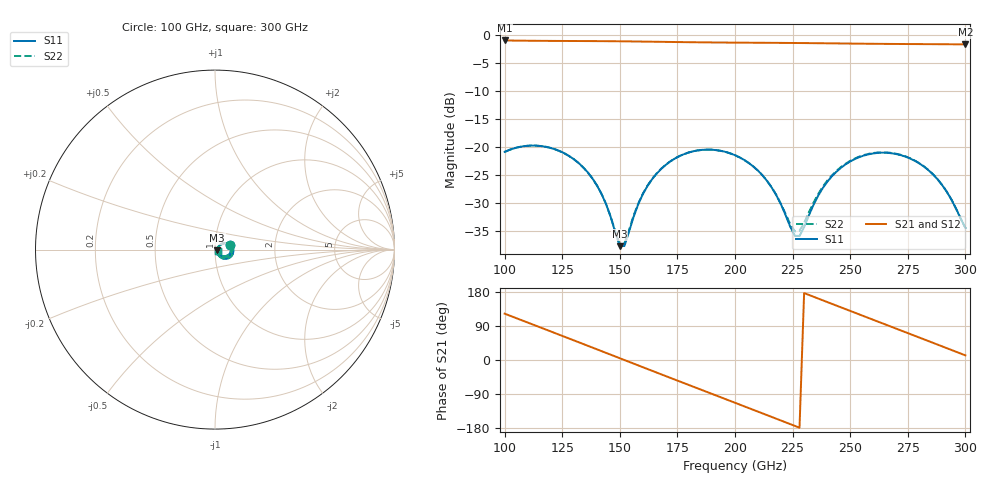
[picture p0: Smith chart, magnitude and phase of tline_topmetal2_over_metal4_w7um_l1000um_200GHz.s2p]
#  GHZ S DB R 50
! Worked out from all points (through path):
!   101 points, 100 GHz to 300 GHz, reference 50 ohm
!   highest |S21| = -0.91 dB at 100 GHz (marker M1); lowest = -1.6 dB at 300 GHz (marker M2)
!   group delay of S21, straight-line fit = 6.53 ps
!   lowest |S11| = -37.8 dB at 150 GHz (marker M3), VSWR 1.03, Z = 51.2 - j0.509 ohm
!   |S11| at or under -10 dB: start of sweep to end of sweep
!   |S22| runs from -37.4 to -19.8 dB; largest |S21 - S12| = 1e-13
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100  -20.89 18.0  -0.91 122.3  -0.91 122.3  -20.91 18.1
116  -19.85 -14.3  -0.97 84.8  -0.97 84.8  -19.87 -14.1
124  -20.76 -30.3  -0.99 66.1  -0.99 66.1  -20.78 -30.1
134  -23.61 -48.8  -1.01 42.5  -1.01 42.5  -23.64 -48.4
142  -28.36 -58.3  -1.03 23.6  -1.03 23.6  -28.38 -57.4
150  -37.80 -22.7  -1.06 4.7  -1.06 4.7  -37.44 -20.7
152  -37.77 9.8  -1.07 -0.1  -1.07 -0.1  -37.29 9.9
160  -28.49 44.5  -1.11 -19.0  -1.11 -19.0  -28.39 43.6
168  -23.93 35.1  -1.15 -37.8  -1.15 -37.8  -23.89 34.5
184  -20.62 5.3  -1.24 -75.4  -1.24 -75.4  -20.61 4.9
200  -21.49 -25.6  -1.29 -112.9  -1.29 -112.9  -21.49 -25.5
214  -26.14 -47.2  -1.33 -145.7  -1.33 -145.7  -26.14 -46.1
226  -35.95 -15.0  -1.36 -174.0  -1.36 -174.0  -35.16 -12.6
228  -35.97 7.9  -1.37 -178.7  -1.37 -178.7  -35.04 7.8
234  -30.46 40.7  -1.39 167.2  -1.39 167.2  -30.05 37.8
240  -26.29 40.3  -1.42 153.0  -1.42 153.0  -26.08 37.8
248  -23.13 29.2  -1.45 134.2  -1.45 134.2  -23.01 27.1
258  -21.32 11.1  -1.50 110.8  -1.50 110.8  -21.24 9.3
268  -21.14 -7.9  -1.53 87.4  -1.53 87.4  -21.08 -9.6
276  -22.08 -22.7  -1.55 68.6  -1.55 68.6  -22.03 -24.4
286  -24.96 -38.4  -1.57 45.2  -1.57 45.2  -24.93 -40.0
300  -34.55 -20.8  -1.61 12.2  -1.61 12.2  -34.51 -22.0
